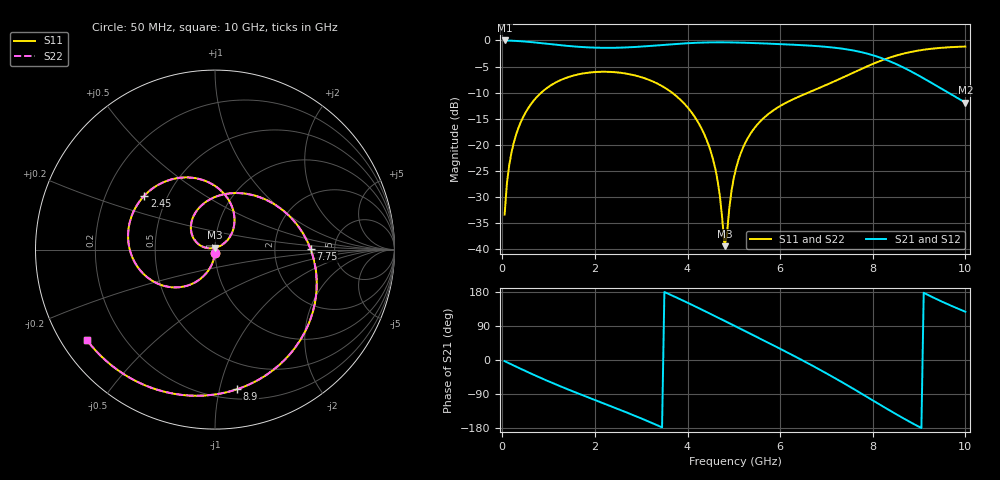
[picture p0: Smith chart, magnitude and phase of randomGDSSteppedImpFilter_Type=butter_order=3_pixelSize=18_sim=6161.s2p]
! freq	dB(S11)	phase(S11)	dB(S12)	phase(S12)
!  dB(S21)	phase(S21)	dB(S22)	phase(S22)
!S-par simulation data
#  GHz  S  DB  R 50
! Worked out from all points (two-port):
!   200 points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, 50 MHz to 10 GHz, reference 50 ohm
!   highest |S21| = -0.01 dB at 50 MHz (marker M1); lowest = -11.9 dB at 10 GHz (marker M2)
!   |S21| within 3 dB of the highest: start of sweep to 8.064 GHz
!   lowest |S11| = -39.4 dB at 4.8 GHz (marker M3), VSWR 1.02, Z = 50.1 + j1.07 ohm
!   |S11| at or under -10 dB: start of sweep to 841.7 MHz; 3.665 GHz to 6.605 GHz (2.94 GHz wide, 57.3 % of centre)
!   |S22| runs from -38.8 to -1.2 dB; largest |S21 - S12| = 0
!   S11 on the Smith chart (normalised r, x): 50 MHz: 1.00, -0.04; 2.45 GHz: 0.37, +0.30; 7.75 GHz: 3.28, +0.04; 8.9 GHz: 0.28, -1.13; 10 GHz: 0.07, -0.32
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0.05  -33.37 -92.9  -0.01 -3.0  -0.01 -3.0  -33.37 -92.9
0.1  -27.36 -96.1  -0.02 -5.9  -0.02 -5.9  -27.36 -96.1
0.2  -21.41 -102.2  -0.05 -11.8  -0.05 -11.8  -21.41 -102.2
0.5  -13.87 -119.6  -0.22 -29.1  -0.22 -29.1  -13.87 -119.6
1.1  -8.32 -152.0  -0.77 -61.5  -0.77 -61.5  -8.32 -152.0
1.75  -6.32 175.8  -1.28 -93.7  -1.28 -93.7  -6.32 175.8
2.45  -6.10 142.6  -1.41 -127.0  -1.41 -127.0  -6.10 142.7
3.4  -8.50 95.2  -0.92 -175.1  -0.92 -175.1  -8.50 95.2
3.9  -11.83 68.1  -0.59 156.9  -0.59 156.9  -11.83 68.2
4.4  -18.77 41.5  -0.39 127.5  -0.39 127.5  -18.76 41.9
4.65  -26.89 34.0  -0.36 112.4  -0.36 112.4  -26.86 35.1
4.8  -39.41 83.4  -0.37 103.3  -0.37 103.3  -38.76 84.9
5.05  -24.42 168.4  -0.40 88.0  -0.40 88.0  -24.39 167.4
5.4  -17.33 152.2  -0.49 66.6  -0.49 66.6  -17.33 151.7
5.95  -12.83 120.0  -0.69 32.7  -0.69 32.7  -12.83 119.7
6.7  -9.64 72.9  -1.03 -15.2  -1.03 -15.2  -9.64 72.6
7.25  -7.52 35.9  -1.48 -52.5  -1.48 -52.5  -7.52 35.6
7.75  -5.48 0.4  -2.24 -88.3  -2.24 -88.3  -5.47 0.2
8.35  -3.33 -43.1  -3.93 -132.0  -3.93 -132.0  -3.33 -43.2
8.9  -2.07 -81.0  -6.28 -169.9  -6.28 -169.9  -2.07 -81.1
9.4  -1.47 -111.9  -8.82 159.4  -8.82 159.4  -1.47 -112.0
10  -1.17 -144.7  -11.90 127.4  -11.90 127.4  -1.17 -144.7
